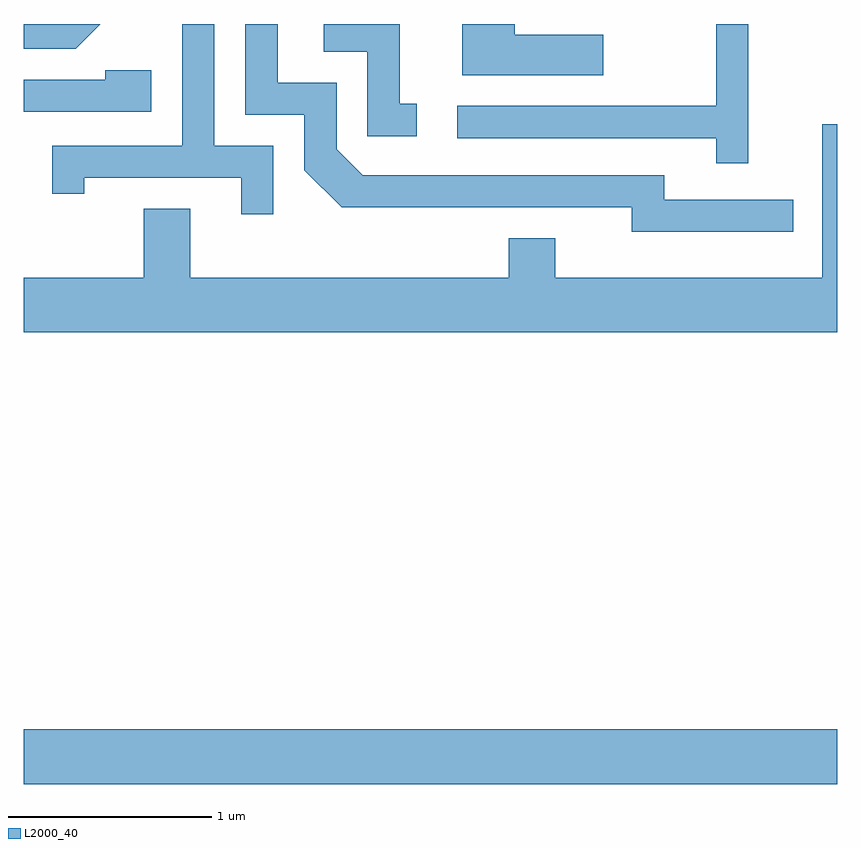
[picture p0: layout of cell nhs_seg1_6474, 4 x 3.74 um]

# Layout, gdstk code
import gdstk
lib = gdstk.Library(unit=1e-6, precision=1e-09)
def R(c, l, rs):  # rectangles x0, y0, x1, y1
    for r in rs: c.add(gdstk.rectangle(r[:2], r[2:], *l))
def P(c, l, *ps):  # polygons
    for p in ps: c.add(gdstk.Polygon(p, *l))
L2000_40 = (2000, 40)

nhs_seg1_6474 = lib.new_cell('nhs_seg1_6474')
R(nhs_seg1_6474, L2000_40, [(379.611,943.976,383.611,944.244)])
P(nhs_seg1_6474, L2000_40, [(379.988,947.712),(379.611,947.712),(379.611,947.591),(379.867,947.591)],
  [(380.839,947.114),(380.549,947.114),(380.549,947.712),(380.391,947.712),(380.391,947.114),(379.751,947.114),(379.751,946.878),(379.909,946.878),(379.909,946.956),(380.681,946.956),(380.681,946.778),(380.839,946.778)],
  [(381.543,947.319),(381.459,947.319),(381.459,947.712),(381.086,947.712),(381.086,947.576),(381.301,947.576),(381.301,947.161),(381.543,947.161)],
  [(383.393,946.849),(382.759,946.849),(382.759,946.969),(381.277,946.969),(381.149,947.097),(381.149,947.424),(380.859,947.424),(380.859,947.712),(380.701,947.712),(380.701,947.266),(380.991,947.266),(380.991,946.994),(381.174,946.811),(382.601,946.811),(382.601,946.691),(383.393,946.691)],
  [(382.459,947.659),(382.024,947.659),(382.024,947.712),(381.766,947.712),(381.766,947.461),(382.459,947.461)],
  [(383.174,947.712),(383.016,947.712),(383.016,947.309),(381.743,947.309),(381.743,947.151),(383.016,947.151),(383.016,947.028),(383.174,947.028)],
  [(380.239,947.484),(380.011,947.484),(380.011,947.439),(379.611,947.439),(379.611,947.281),(380.239,947.281)],
  [(383.611,947.218),(383.536,947.218),(383.536,946.464),(382.224,946.464),(382.224,946.659),(381.996,946.659),(381.996,946.464),(380.429,946.464),(380.429,946.804),(380.201,946.804),(380.201,946.464),(379.611,946.464),(379.611,946.196),(383.611,946.196)])

lib.write_gds('nhs_seg1_6474.gds')
